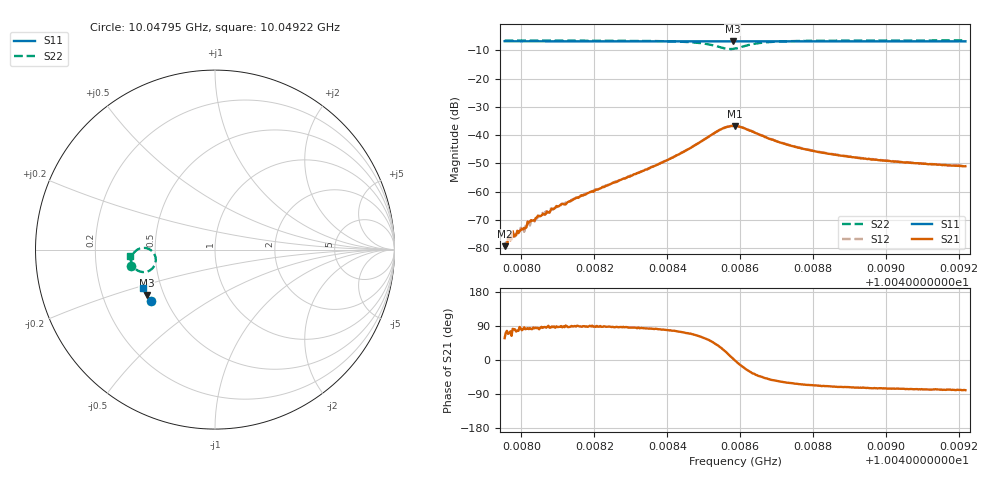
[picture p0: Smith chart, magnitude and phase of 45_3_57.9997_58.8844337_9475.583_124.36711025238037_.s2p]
#  HZ  S  RI  R  50.00
! Rohde & Schwarz Vector Network Analyzer
! Rohde-Schwarz,ZNB20-2Port,1311601062101988,3.16
! Created: UTC 3/21/2024, 12:52:16 AM
! freq[Hz]  re:S11  im:S11  re:S21  im:S21  re:S12  im:S12  re:S22  im:S22
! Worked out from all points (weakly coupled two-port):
!   401 points, 10.04795 GHz to 10.04922 GHz, reference 50 ohm
!   highest |S21| = -36.72 dB at 10.04859 GHz (marker M1); lowest = -79.3 dB at 10.04795 GHz (marker M2)
!   lowest |S11| = -6.8 dB at 10.04858 GHz (marker M3), VSWR 2.68, Z = 20.1 - j12.8 ohm
!   |S11| at or under -10 dB: nowhere
!   |S22| runs from -9.5 to -6.5 dB; largest |S21 - S12| = 0.0011
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1.0047954e10  -0.3587 -0.2871  5.77e-05 9.12e-05  3.9e-05 0.000104  -0.4658 -0.0895
1.0047967e10  -0.3593 -0.2864  5.3e-05 0.000154  3.69e-05 0.000159  -0.4658 -0.0886
1.004797e10  -0.3593 -0.2864  3.43e-05 0.000133  5.36e-05 0.000131  -0.466 -0.0883
1.0047976e10  -0.3597 -0.286  2.68e-05 0.000198  1.83e-05 0.000187  -0.466 -0.0879
1.0048008e10  -0.361 -0.2843  1.51e-05 0.000227  2.47e-06 0.000194  -0.4663 -0.0849
1.0048024e10  -0.3617 -0.2833  2.99e-05 0.000295  -2.85e-06 0.000251  -0.4666 -0.0833
1.0048065e10  -0.3632 -0.2812  1.9e-05 0.000388  1.55e-05 0.000428  -0.4668 -0.0794
1.004809e10  -0.3642 -0.2798  1.25e-05 0.000496  -4.13e-06 0.000505  -0.4671 -0.0769
1.0048166e10  -0.3671 -0.2758  3.6e-05 0.000862  -2.45e-05 0.000864  -0.4672 -0.0688
1.0048377e10  -0.3752 -0.2639  0.000475 0.00305  0.000325 0.0031  -0.4611 -0.0343
1.0048456e10  -0.3779 -0.2592  0.00183 0.00527  0.00156 0.00539  -0.4449 -0.00986
1.0048525e10  -0.3798 -0.2549  0.00728 0.00765  0.0068 0.00808  -0.3891 0.00919
1.0048554e10  -0.3804 -0.2534  0.012 0.00601  0.0114 0.00653  -0.3477 -0.0118
1.0048579e10  -0.3808 -0.2524  0.0144 0.00107  0.0143 0.00199  -0.3299 -0.0605
1.0048585e10  -0.3811 -0.2522  0.0146 -0.00037  0.0145 0.000617  -0.332 -0.074
1.004862e10  -0.3826 -0.251  0.0111 -0.0057  0.0116 -0.00502  -0.3718 -0.1202
1.0048664e10  -0.3845 -0.2486  0.00655 -0.00696  0.00697 -0.00649  -0.4188 -0.1217
1.0048724e10  -0.3868 -0.2452  0.00352 -0.00593  0.00399 -0.00574  -0.4469 -0.1044
1.0048797e10  -0.3893 -0.241  0.00212 -0.00484  0.00241 -0.00479  -0.4599 -0.087
1.0048882e10  -0.3923 -0.236  0.00135 -0.00405  0.00165 -0.004  -0.4662 -0.0725
1.0049008e10  -0.3965 -0.2287  0.000892 -0.00338  0.0011 -0.00336  -0.4704 -0.0565
1.0049217e10  -0.4029 -0.2163  0.000509 -0.00277  0.000682 -0.00275  -0.4732 -0.0366
